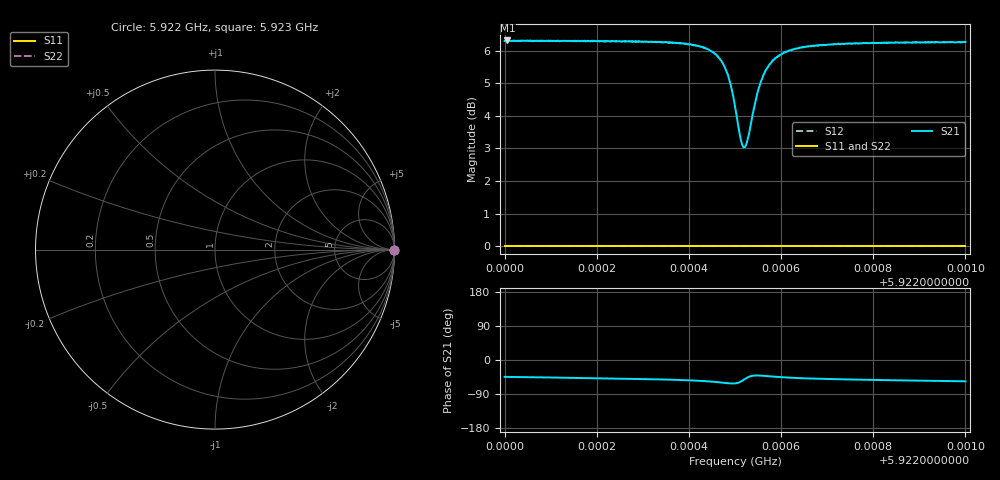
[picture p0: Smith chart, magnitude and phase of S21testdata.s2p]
! 8/8/2012 3:06:23 PM
! C:\SONG\2012\2012.08.08@275MK S21 NIST P=-90DBM 4AMP P1E.S2P
! CHANNEL.1
! TR.MEASUREMENT
! RAW.DATA
# GHZ S RI R 50.0
! FREQ.GHZ  S11RE  S11IM  S21RE  S21IM  S12RE  S12IM  S22RE  S22IM
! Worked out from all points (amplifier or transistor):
!   1001 points, 5.922 GHz to 5.923 GHz, reference 50 ohm
!   highest |S21| = 6.3 dB at 5.922006 GHz (marker M1)
!   |S21| within 3 dB of that: start of sweep to 5.922512 GHz (the widest 1 of 2)
!   unconditionally stable (mu >= 1): nowhere
!   at 5.922166 GHz: K = 0.35, MSG = 3.1 dB, |S12| = 0.0 dB
!   at 5.9225 GHz: K = 0.35, MSG = 2.1 dB, |S12| = 0.0 dB
!   at 5.923 GHz: K = 0.47, MSG = 3.1 dB, |S12| = 0.0 dB
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5.922  1 0  1.474 -1.447  1 0  1 0
5.922006  1 0  1.475 -1.452  1 0  1 0
5.922167  1 0  1.398 -1.52  1 0  1 0
5.922334  1 0  1.292 -1.603  1 0  1 0
5.922417  1 0  1.174 -1.658  1 0  1 0
5.922441  1 0  1.11 -1.671  1 0  1 0
5.922463  1 0  1.02 -1.665  1 0  1 0
5.922484  1 0  0.8849 -1.61  1 0  1 0
5.922493  1 0  0.8187 -1.536  1 0  1 0
5.9225  1 0  0.7749 -1.443  1 0  1 0
5.922507  1 0  0.7659 -1.324  1 0  1 0
5.922514  1 0  0.8066 -1.2  1 0  1 0
5.922523  1 0  0.9395 -1.072  1 0  1 0
5.922532  1 0  1.097 -1.037  1 0  1 0
5.92254  1 0  1.213 -1.064  1 0  1 0
5.922549  1 0  1.302 -1.126  1 0  1 0
5.922569  1 0  1.382 -1.264  1 0  1 0
5.922586  1 0  1.39 -1.35  1 0  1 0
5.922609  1 0  1.377 -1.428  1 0  1 0
5.922667  1 0  1.333 -1.53  1 0  1 0
5.922834  1 0  1.227 -1.644  1 0  1 0
5.923  1 0  1.144 -1.711  1 0  1 0
